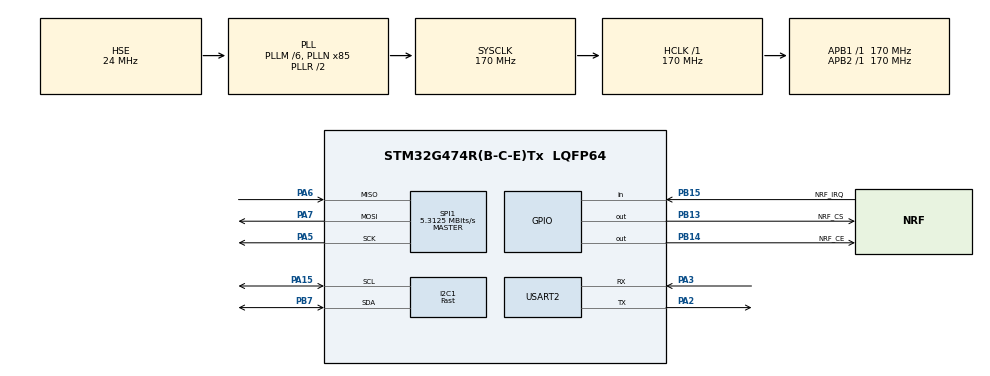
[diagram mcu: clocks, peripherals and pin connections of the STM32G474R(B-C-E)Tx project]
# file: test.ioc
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I2C1.I2C_Speed_Mode=I2C_Fast
I2C1.Timing=0x10802D9B
Mcu.Family=STM32G4
Mcu.Name=STM32G474R(B-C-E)Tx
Mcu.Package=LQFP64
NVIC.PriorityGroup=NVIC_PRIORITYGROUP_4
PA13.Mode=Serial_Wire
PA13.Signal=SYS_JTMS-SWDIO
PA14.Mode=Serial_Wire
PA14.Signal=SYS_JTCK-SWCLK
PA15.Mode=I2C
PA15.Signal=I2C1_SCL
PA2.Mode=Asynchronous
PA2.Signal=USART2_TX
PA3.Mode=Asynchronous
PA3.Signal=USART2_RX
PA5.Mode=Full_Duplex_Master
PA5.Signal=SPI1_SCK
PA6.Mode=Full_Duplex_Master
PA6.Signal=SPI1_MISO
PA7.Mode=Full_Duplex_Master
PA7.Signal=SPI1_MOSI
PB13.GPIO_Label=NRF_CS
PB13.GPIO_PuPd=GPIO_NOPULL
PB13.GPIO_Speed=GPIO_SPEED_FREQ_HIGH
PB13.PinState=GPIO_PIN_SET
PB13.Signal=GPIO_Output
PB14.GPIO_Label=NRF_CE
PB14.GPIO_PuPd=GPIO_NOPULL
PB14.GPIO_Speed=GPIO_SPEED_FREQ_HIGH
PB14.Signal=GPIO_Output
PB15.GPIO_Label=NRF_IRQ
PB15.GPIO_PuPd=GPIO_PULLUP
PB15.Signal=GPIO_Input
PB7.Mode=I2C
PB7.Signal=I2C1_SDA
PF0-OSC_IN.Mode=HSE-External-Oscillator
PF0-OSC_IN.Signal=RCC_OSC_IN
PF1-OSC_OUT.Mode=HSE-External-Oscillator
PF1-OSC_OUT.Signal=RCC_OSC_OUT
ProjectManager.HeapSize=0x200
ProjectManager.StackSize=0x400
ProjectManager.TargetToolchain=MDK-ARM V5.32
RCC.ADC12Freq_Value=170000000
RCC.ADC345Freq_Value=170000000
RCC.AHBFreq_Value=170000000
RCC.APB1Freq_Value=170000000
RCC.APB1TimFreq_Value=170000000
RCC.APB2Freq_Value=170000000
RCC.APB2TimFreq_Value=170000000
RCC.CortexFreq_Value=170000000
RCC.EXTERNAL_CLOCK_VALUE=12288000
RCC.HCLKFreq_Value=170000000
RCC.HSE_VALUE=24000000
RCC.HSI48_VALUE=48000000
RCC.HSI_VALUE=16000000
RCC.LSE_VALUE=32768
RCC.PLLM=RCC_PLLM_DIV6
RCC.PLLN=85
RCC.PLLSourceVirtual=RCC_PLLSOURCE_HSE
RCC.SYSCLKFreq_VALUE=170000000
RCC.SYSCLKSource=RCC_SYSCLKSOURCE_PLLCLK
RCC.USBFreq_Value=170000000
RCC.VCOOutputFreq_Value=340000000
SPI1.BaudRatePrescaler=SPI_BAUDRATEPRESCALER_32
SPI1.CalculateBaudRate=5.3125 MBits/s
SPI1.DataSize=SPI_DATASIZE_8BIT
SPI1.Direction=SPI_DIRECTION_2LINES
SPI1.Mode=SPI_MODE_MASTER
SPI1.NSSPMode=SPI_NSS_PULSE_DISABLE
SPI1.VirtualType=VM_MASTER
USART2.VirtualMode-Asynchronous=VM_ASYNC
VP_SYS_VS_DBSignals.Mode=DisableDeadBatterySignals
board=custom

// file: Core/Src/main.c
/* USER CODE BEGIN Header */
/**
  ******************************************************************************
  * @file           : main.c
  * @brief          : Main program body
  ******************************************************************************
  * @attention
  *
  * Copyright (c) 2023 STMicroelectronics.
  * All rights reserved.
  *
  * This software is licensed under terms that can be found in the LICENSE file
  * in the root directory of this software component.
  * If no LICENSE file comes with this software, it is provided AS-IS.
  *
  ******************************************************************************
  */
/* USER CODE END Header */
#include "main.h"
#include "i2c.h"
#include "spi.h"
#include "usart.h"
#include "gpio.h"

/* USER CODE BEGIN Includes */
#include "OLED.h"
#include "string.h"
#include "stdio.h"
#include <stdarg.h>
#include "Delay.h"
#include "BMP280.h"
#include "mpu9250.h"
#include "nrf24L01.h"
/* USER CODE END Includes */

/* USER CODE BEGIN PD */
#define Serial_Printf(format, ...)  printf( format "", ##__VA_ARGS__)
/* USER CODE END PD */

void SystemClock_Config(void);

/* USER CODE BEGIN 0 */
int fputc(int ch, FILE *f)
{
	uint8_t temp[1] = {ch};
	HAL_UART_Transmit(&huart2, temp, 1, 0xffff);
	return ch;
}

int fgetc(FILE * f)
{
  uint8_t ch = 0;
  HAL_UART_Receive(&huart2,&ch, 1, 0xffff);
  return ch;
}
//void mpu9250_Start(void)
//{
//
//	float pitch,roll,yaw; 	        //欧拉�?
//	short aacx,aacy,aacz;	        //加�?�度传感器原始数�?
//	short gyrox,gyroy,gyroz;        //�?螺仪原始数据
//    short temp;                     //温度
//
//    uint8_t err = mpu_dmp_init();
//    while(err)
//	{
//        printf("mpu_init_err:%d\r\n",err);
//        while(1);
//	}
//    printf("mpu9250 Ok\r\n");
//    while(1)
//    {
//        err = mpu_mpl_get_data(&pitch,&roll,&yaw);
//        if(err == 0)
//        {
//                temp = MPU_Get_Temperature();	                                     //得到温度值（扩大�?100倍）
//                MPU_Get_Accelerometer(&aacx,&aacy,&aacz);	                         //得到加�?�度传感器数�?
//                MPU_Get_Gyroscope(&gyrox,&gyroy,&gyroz);	                         //得到�?螺仪数据
//                //mpu6050_send_data(aacx,aacy,aacz,gyrox,gyroy,gyroz);               //发�?�加速度+�?螺仪原始数据
//                printf("roll = %f   pitch = %f   yaw = %f (T = %d)\r\n",roll,pitch,yaw,temp);
//
//        }
//    }
// }
/* USER CODE END 0 */

int main(void)
{
  /* USER CODE BEGIN 1 */
//  double Alititide,Pressure,Tempture;
//  long tem;
  //unsigned char ucMPU9250Str[100];
	short sCaliFlag = 0;   //磁场校准标志�?
	short sAcc[3],sGyro[3],sMag[3];
	float pitch,roll,yaw;
  uint8_t Receive[33];
  /* USER CODE END 1 */

  /* MCU Configuration--------------------------------------------------------*/

  /* Reset of all peripherals, Initializes the Flash interface and the Systick. */
  HAL_Init();

  /* Configure the system clock */
  SystemClock_Config();

  /* Initialize all configured peripherals */
  MX_GPIO_Init();
  MX_I2C1_Init();
  MX_USART2_UART_Init();
  MX_SPI1_Init();
  /* USER CODE BEGIN 2 */
  Bmp_Init();
  OLED_Init();

  //OLED_ShowHexNum(2,1,BMP280_WhoamI(),2);
//  while(mpu_dmp_init());
  /* USER CODE END 2 */

  /* Infinite loop */
  /* USER CODE BEGIN WHILE */
   while(NRF24L01_Check())
	{
		printf("硬件查寻不到NRF24L01无线模块\r\n");
 		HAL_Delay(1000);
	}
  printf("NRF24L01无线模块硬件连接正常\r\n");

	NRF24L01_RX_Mode();
   printf("进入数据接收模式\r\n");
  while (1)
  {
    /* USER CODE END WHILE */

    /* USER CODE BEGIN 3 */
    if(NRF24L01_RxPacket(Receive)==0)
    {
      Receive[32]=0;//加入字符串结束符
      printf("NRF24L01无线模块数据接收成功：%s\r\n",Receive);
    }
    HAL_Delay(500);

//    mpu_mpl_get_data(&pitch,&roll,&yaw,&sCaliFlag);
//    printf("Pitch:%.3f, Roll:%.3f, Yaw:%.3f\r\n",pitch,roll,yaw);
  }
  /* USER CODE END 3 */
}

void SystemClock_Config(void)
{
  RCC_OscInitTypeDef RCC_OscInitStruct = {0};
  RCC_ClkInitTypeDef RCC_ClkInitStruct = {0};

  /** Configure the main internal regulator output voltage
  */
  HAL_PWREx_ControlVoltageScaling(PWR_REGULATOR_VOLTAGE_SCALE1_BOOST);

  /** Initializes the RCC Oscillators according to the specified parameters
  * in the RCC_OscInitTypeDef structure.
  */
  RCC_OscInitStruct.OscillatorType = RCC_OSCILLATORTYPE_HSE;
  RCC_OscInitStruct.HSEState = RCC_HSE_ON;
  RCC_OscInitStruct.PLL.PLLState = RCC_PLL_ON;
  RCC_OscInitStruct.PLL.PLLSource = RCC_PLLSOURCE_HSE;
  RCC_OscInitStruct.PLL.PLLM = RCC_PLLM_DIV6;
  RCC_OscInitStruct.PLL.PLLN = 85;
  RCC_OscInitStruct.PLL.PLLP = RCC_PLLP_DIV2;
  RCC_OscInitStruct.PLL.PLLQ = RCC_PLLQ_DIV2;
  RCC_OscInitStruct.PLL.PLLR = RCC_PLLR_DIV2;
  if (HAL_RCC_OscConfig(&RCC_OscInitStruct) != HAL_OK)
  {
    Error_Handler();
  }

  /** Initializes the CPU, AHB and APB buses clocks
  */
  RCC_ClkInitStruct.ClockType = RCC_CLOCKTYPE_HCLK|RCC_CLOCKTYPE_SYSCLK
                              |RCC_CLOCKTYPE_PCLK1|RCC_CLOCKTYPE_PCLK2;
  RCC_ClkInitStruct.SYSCLKSource = RCC_SYSCLKSOURCE_PLLCLK;
  RCC_ClkInitStruct.AHBCLKDivider = RCC_SYSCLK_DIV1;
  RCC_ClkInitStruct.APB1CLKDivider = RCC_HCLK_DIV1;
  RCC_ClkInitStruct.APB2CLKDivider = RCC_HCLK_DIV1;

  if (HAL_RCC_ClockConfig(&RCC_ClkInitStruct, FLASH_LATENCY_4) != HAL_OK)
  {
    Error_Handler();
  }
}

void Error_Handler(void)
{
  __disable_irq();
  while (1)
  {
  }
}
